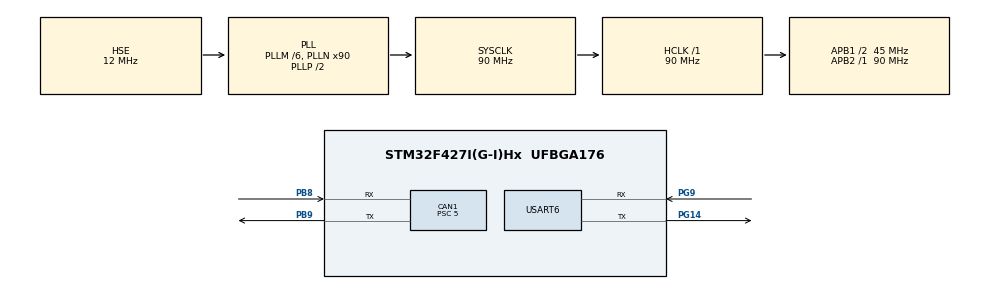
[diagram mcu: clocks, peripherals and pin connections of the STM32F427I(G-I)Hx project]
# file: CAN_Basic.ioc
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CAN1.ABOM=ENABLE
CAN1.BS1=CAN_BS1_6TQ
CAN1.BS2=CAN_BS2_2TQ
CAN1.CalculateBaudRate=1000000
CAN1.CalculateTimeBit=1000
CAN1.CalculateTimeQuantum=111.11111111111111
CAN1.Prescaler=5
CAN1.SJW=CAN_SJW_1TQ
Dma.Request0=USART6_RX
Dma.Request1=USART6_TX
Dma.USART6_RX.0.Direction=DMA_PERIPH_TO_MEMORY
Dma.USART6_RX.0.FIFOMode=DMA_FIFOMODE_DISABLE
Dma.USART6_RX.0.Instance=DMA2_Stream1
Dma.USART6_RX.0.MemDataAlignment=DMA_MDATAALIGN_BYTE
Dma.USART6_RX.0.MemInc=DMA_MINC_ENABLE
Dma.USART6_RX.0.Mode=DMA_NORMAL
Dma.USART6_RX.0.PeriphDataAlignment=DMA_PDATAALIGN_BYTE
Dma.USART6_RX.0.PeriphInc=DMA_PINC_DISABLE
Dma.USART6_RX.0.Priority=DMA_PRIORITY_LOW
Dma.USART6_TX.1.Direction=DMA_MEMORY_TO_PERIPH
Dma.USART6_TX.1.FIFOMode=DMA_FIFOMODE_DISABLE
Dma.USART6_TX.1.Instance=DMA2_Stream6
Dma.USART6_TX.1.MemDataAlignment=DMA_MDATAALIGN_BYTE
Dma.USART6_TX.1.MemInc=DMA_MINC_ENABLE
Dma.USART6_TX.1.Mode=DMA_NORMAL
Dma.USART6_TX.1.PeriphDataAlignment=DMA_PDATAALIGN_BYTE
Dma.USART6_TX.1.PeriphInc=DMA_PINC_DISABLE
Dma.USART6_TX.1.Priority=DMA_PRIORITY_LOW
Mcu.Family=STM32F4
Mcu.Name=STM32F427I(G-I)Hx
Mcu.Package=UFBGA176
NVIC.CAN1_RX0_IRQn=true\:0\:0\:false\:false\:true\:true\:true\:true
NVIC.DMA2_Stream1_IRQn=true\:0\:0\:false\:false\:true\:false\:true\:true
NVIC.DMA2_Stream6_IRQn=true\:0\:0\:false\:false\:true\:false\:true\:true
NVIC.PriorityGroup=NVIC_PRIORITYGROUP_4
NVIC.USART6_IRQn=true\:0\:0\:false\:false\:true\:false\:true\:true
PA13.Mode=Serial_Wire
PA13.Signal=SYS_JTMS-SWDIO
PA14.Mode=Serial_Wire
PA14.Signal=SYS_JTCK-SWCLK
PB8.Mode=CAN_Activate
PB8.Signal=CAN1_RX
PB9.Mode=CAN_Activate
PB9.Signal=CAN1_TX
PG14.Mode=Asynchronous
PG14.Signal=USART6_TX
PG9.Mode=Asynchronous
PG9.Signal=USART6_RX
PH0/OSC_IN.Mode=HSE-External-Oscillator
PH0/OSC_IN.Signal=RCC_OSC_IN
PH1/OSC_OUT.Mode=HSE-External-Oscillator
PH1/OSC_OUT.Signal=RCC_OSC_OUT
ProjectManager.HeapSize=0x200
ProjectManager.StackSize=0x400
ProjectManager.TargetToolchain=MDK-ARM V5.32
RCC.48MHZClocksFreq_Value=45000000
RCC.AHBFreq_Value=90000000
RCC.APB1CLKDivider=RCC_HCLK_DIV2
RCC.APB1Freq_Value=45000000
RCC.APB1TimFreq_Value=90000000
RCC.APB2Freq_Value=90000000
RCC.APB2TimFreq_Value=90000000
RCC.CortexFreq_Value=90000000
RCC.HCLKFreq_Value=90000000
RCC.HSE_VALUE=12000000
RCC.HSI_VALUE=16000000
RCC.LSE_VALUE=32768
RCC.PLLM=6
RCC.PLLN=90
RCC.PLLSourceVirtual=RCC_PLLSOURCE_HSE
RCC.SYSCLKFreq_VALUE=90000000
RCC.SYSCLKSource=RCC_SYSCLKSOURCE_PLLCLK
RCC.VCOOutputFreq_Value=180000000
USART6.VirtualMode=VM_ASYNC
board=custom

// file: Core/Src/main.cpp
/* USER CODE BEGIN Header */
/**
  ******************************************************************************
  * @file           : main.c
  * @brief          : Main program body
  ******************************************************************************
  * @attention
  *
  * Copyright (c) 2024 STMicroelectronics.
  * All rights reserved.
  *
  * This software is licensed under terms that can be found in the LICENSE file
  * in the root directory of this software component.
  * If no LICENSE file comes with this software, it is provided AS-IS.
  *
  ******************************************************************************
  */
/* USER CODE END Header */
#include "main.h"
#include "can.h"
#include "dma.h"
#include "usart.h"
#include "gpio.h"
#include "Motor.h"

/* USER CODE BEGIN PD */
CAN_RxHeaderTypeDef RxHeader;
CAN_TxHeaderTypeDef TxHeader={0x200,0,CAN_ID_STD,CAN_RTR_DATA, 8, DISABLE};
M3508_Motor motor;
uint8_t RxData[8];
uint8_t TxData[8]={0x00,0x00,0x00,0x70,0x00,0x00,0x00,0x00};
/* USER CODE END PD */

void SystemClock_Config(void);

int main(void)
{

  /* MCU Configuration--------------------------------------------------------*/

  /* Reset of all peripherals, Initializes the Flash interface and the Systick. */
  HAL_Init();

  /* Configure the system clock */
  SystemClock_Config();

  /* Initialize all configured peripherals */
  MX_GPIO_Init();
  MX_DMA_Init();
  MX_CAN1_Init();
  MX_USART6_UART_Init();
  /* USER CODE BEGIN 2 */
  CAN_FilterTypeDef FilterConfig =
        {
    FilterConfig.FilterIdHigh=0x0000,
    FilterConfig.FilterIdLow=0x0000,
    FilterConfig.FilterMaskIdHigh=0x0000,
    FilterConfig.FilterMaskIdLow=0x0000,
    FilterConfig.FilterFIFOAssignment=CAN_FILTER_FIFO0,
    FilterConfig.FilterBank=0,
    FilterConfig.FilterMode=CAN_FILTERMODE_IDMASK,
    FilterConfig.FilterScale=CAN_FILTERSCALE_32BIT,
    FilterConfig.FilterActivation=CAN_FILTER_ENABLE,
    FilterConfig.SlaveStartFilterBank=0
    };
  HAL_CAN_ConfigFilter(&hcan1,&FilterConfig);
  HAL_CAN_Start(&hcan1);
  HAL_CAN_ActivateNotification(&hcan1, CAN_IT_RX_FIFO0_MSG_PENDING);

  /* USER CODE END 2 */

  /* Infinite loop */
  /* USER CODE BEGIN WHILE */
  while (1)
  {
    HAL_CAN_AddTxMessage(&hcan1,&TxHeader,TxData,reinterpret_cast<uint32_t*>(CAN_TX_MAILBOX0));
    HAL_Delay(1000);
    /* USER CODE END WHILE */

  }
}

void SystemClock_Config(void)
{
  RCC_OscInitTypeDef RCC_OscInitStruct = {0};
  RCC_ClkInitTypeDef RCC_ClkInitStruct = {0};

  /** Configure the main internal regulator output voltage
  */
  __HAL_RCC_PWR_CLK_ENABLE();
  __HAL_PWR_VOLTAGESCALING_CONFIG(PWR_REGULATOR_VOLTAGE_SCALE3);

  /** Initializes the RCC Oscillators according to the specified parameters
  * in the RCC_OscInitTypeDef structure.
  */
  RCC_OscInitStruct.OscillatorType = RCC_OSCILLATORTYPE_HSE;
  RCC_OscInitStruct.HSEState = RCC_HSE_ON;
  RCC_OscInitStruct.PLL.PLLState = RCC_PLL_ON;
  RCC_OscInitStruct.PLL.PLLSource = RCC_PLLSOURCE_HSE;
  RCC_OscInitStruct.PLL.PLLM = 6;
  RCC_OscInitStruct.PLL.PLLN = 90;
  RCC_OscInitStruct.PLL.PLLP = RCC_PLLP_DIV2;
  RCC_OscInitStruct.PLL.PLLQ = 4;
  if (HAL_RCC_OscConfig(&RCC_OscInitStruct) != HAL_OK)
  {
    Error_Handler();
  }

  /** Activate the Over-Drive mode
  */
  if (HAL_PWREx_EnableOverDrive() != HAL_OK)
  {
    Error_Handler();
  }

  /** Initializes the CPU, AHB and APB buses clocks
  */
  RCC_ClkInitStruct.ClockType = RCC_CLOCKTYPE_HCLK|RCC_CLOCKTYPE_SYSCLK
                              |RCC_CLOCKTYPE_PCLK1|RCC_CLOCKTYPE_PCLK2;
  RCC_ClkInitStruct.SYSCLKSource = RCC_SYSCLKSOURCE_PLLCLK;
  RCC_ClkInitStruct.AHBCLKDivider = RCC_SYSCLK_DIV1;
  RCC_ClkInitStruct.APB1CLKDivider = RCC_HCLK_DIV2;
  RCC_ClkInitStruct.APB2CLKDivider = RCC_HCLK_DIV1;

  if (HAL_RCC_ClockConfig(&RCC_ClkInitStruct, FLASH_LATENCY_2) != HAL_OK)
  {
    Error_Handler();
  }
}

void Error_Handler(void)
{
  __disable_irq();
  while (1)
  {
  }
}
